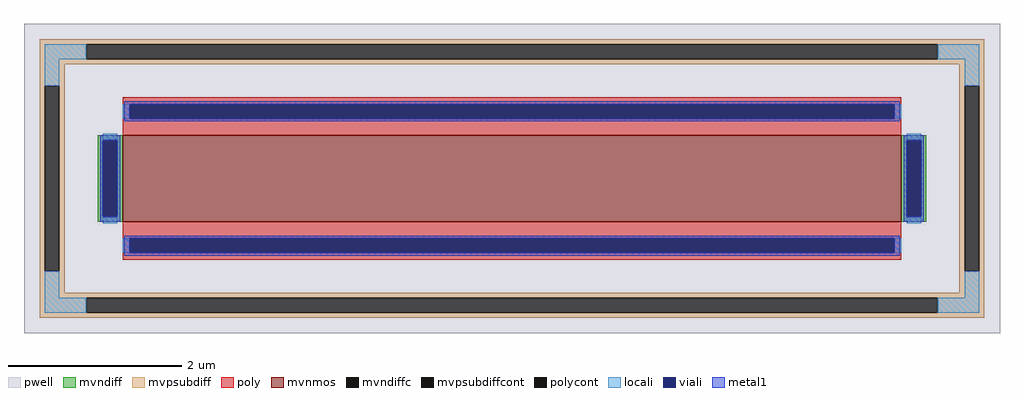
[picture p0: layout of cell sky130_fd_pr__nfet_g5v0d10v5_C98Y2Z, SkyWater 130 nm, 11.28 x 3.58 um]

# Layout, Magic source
magic
tech sky130A
<< pwell >>
rect -564 -179 564 179
<< mvnmos >>
rect -450 -50 450 50
<< mvndiff >>
rect -479 44 -450 50
rect -479 -44 -473 44
rect -456 -44 -450 44
rect -479 -50 -450 -44
rect 450 44 479 50
rect 450 -44 456 44
rect 473 -44 479 44
rect 450 -50 479 -44
<< mvndiffc >>
rect -473 -44 -456 44
rect 456 -44 473 44
<< mvpsubdiff >>
rect -546 155 546 161
rect -546 138 -492 155
rect 492 138 546 155
rect -546 132 546 138
rect -546 107 -517 132
rect -546 -107 -540 107
rect -523 -107 -517 107
rect 517 107 546 132
rect -546 -132 -517 -107
rect 517 -107 523 107
rect 540 -107 546 107
rect 517 -132 546 -107
rect -546 -138 546 -132
rect -546 -155 -492 -138
rect 492 -155 546 -138
rect -546 -161 546 -155
<< mvpsubdiffcont >>
rect -492 138 492 155
rect -540 -107 -523 107
rect 523 -107 540 107
rect -492 -155 492 -138
<< poly >>
rect -450 86 450 94
rect -450 69 -442 86
rect 442 69 450 86
rect -450 50 450 69
rect -450 -69 450 -50
rect -450 -86 -442 -69
rect 442 -86 450 -69
rect -450 -94 450 -86
<< polycont >>
rect -442 69 442 86
rect -442 -86 442 -69
<< locali >>
rect -540 138 -492 155
rect 492 138 540 155
rect -540 107 -523 138
rect 523 107 540 138
rect -450 69 -442 86
rect 442 69 450 86
rect -473 44 -456 52
rect -473 -52 -456 -44
rect 456 44 473 52
rect 456 -52 473 -44
rect -450 -86 -442 -69
rect 442 -86 450 -69
rect -540 -138 -523 -107
rect 523 -138 540 -107
rect -540 -155 -492 -138
rect 492 -155 540 -138
<< viali >>
rect -442 69 442 86
rect -473 -44 -456 44
rect 456 -44 473 44
rect -442 -86 442 -69
<< metal1 >>
rect -448 86 448 89
rect -448 69 -442 86
rect 442 69 448 86
rect -448 66 448 69
rect -476 44 -453 50
rect -476 -44 -473 44
rect -456 -44 -453 44
rect -476 -50 -453 -44
rect 453 44 476 50
rect 453 -44 456 44
rect 473 -44 476 44
rect 453 -50 476 -44
rect -448 -69 448 -66
rect -448 -86 -442 -69
rect 442 -86 448 -69
rect -448 -89 448 -86
<< properties >>
string FIXED_BBOX -531 -146 531 146
string gencell sky130_fd_pr__nfet_g5v0d10v5
string library sky130
string parameters w 1 l 9 m 1 nf 1 diffcov 100 polycov 100 guard 1 glc 1 grc 1 gtc 1 gbc 1 tbcov 100 rlcov 100 topc 1 botc 1 poverlap 0 doverlap 1 lmin 0.50 wmin 0.42 compatible {sky130_fd_pr__nfet_01v8 sky130_fd_pr__nfet_01v8_lvt  sky130_fd_bs_flash__special_sonosfet_star  sky130_fd_pr__nfet_g5v0d10v5 sky130_fd_pr__nfet_05v0_nvt  sky130_fd_pr__nfet_03v3_nvt} full_metal 1 viasrc 100 viadrn 100 viagate 100 viagb 0 viagr 0 viagl 0 viagt 0
<< end >>
